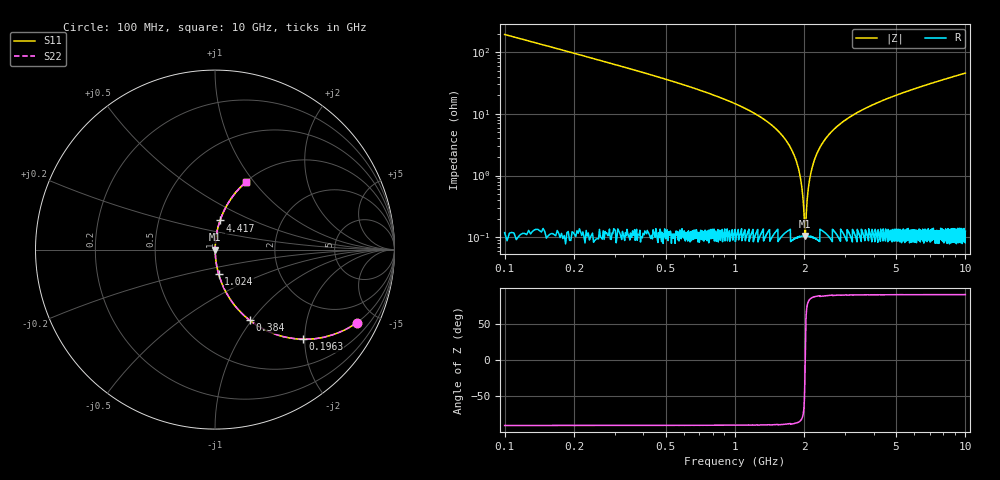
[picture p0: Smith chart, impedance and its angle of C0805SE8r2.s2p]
! AVX Thin Film Operation		Date: April 2012
! Description: Accu-P® Series, Thin Film, SMD, RF Capacitor
! Part Number: 08051J8R2BBTTR
!	100	MHz	-	10.05	GHz
!	Serial	Measurements
#	MHZ	S	MA	R	50
!	S11	S21	S12	S22
!	dB	Phase	dB	Phase	dB	Phase	dB	Phase
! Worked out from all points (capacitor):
!   4010 points, 100 MHz to 10 GHz, reference 50 ohm
!   read as one part in series: C = 8.2 pF near 149.4 MHz
!   lowest |Z| = 105 mohm at 2.016 GHz (marker M1)
!   series resonance near 2.016 GHz, so ESL is about 760 pH
!   S11 on the Smith chart (normalised r, x): 100 MHz: 1.00, -3.87; 196.3 MHz: 1.00, -1.96; 384 MHz: 1.00, -0.98; 1.024 GHz: 1.00, -0.28; 4.417 GHz: 1.00, +0.33; 10 GHz: 1.00, +0.92
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100  0.888 -27.3  0.459 62.7  0.459 62.7  0.888 -27.3
196.308  0.699 -45.6  0.714 44.4  0.714 44.4  0.699 -45.6
383.986  0.438 -63.9  0.898 25.9  0.898 25.9  0.438 -63.9
616.114  0.274 -73.9  0.961 15.9  0.961 15.9  0.274 -73.9
1023.572  0.139 -81.5  0.989 8.0  0.989 8.0  0.139 -81.5
1480.419  0.06 -85.5  0.997 3.5  0.997 3.5  0.06 -85.5
1752.058  0.027 -86.1  0.999 1.6  0.999 1.6  0.027 -86.1
1895.286  0.012 -84.0  0.999 0.7  0.999 0.7  0.012 -84.0
1937.266  0.00773 -81.4  0.999 0.4  0.999 0.4  0.00773 -81.4
1984.186  0.00324 -70.0  0.999 0.2  0.999 0.2  0.00324 -70.0
2016.288  0.0011 2.2  0.999 -0.0  0.999 -0.0  0.0011 2.2
2045.922  0.00305 68.7  0.999 -0.2  0.999 -0.2  0.00305 68.7
2095.311  0.00752 81.2  0.999 -0.4  0.999 -0.4  0.00752 81.2
2152.108  0.013 84.3  0.999 -0.7  0.999 -0.7  0.013 84.3
2362.01  0.031 86.2  0.998 -1.8  0.998 -1.8  0.031 86.2
2757.121  0.061 85.5  0.997 -3.5  0.997 -3.5  0.061 85.5
3401.646  0.105 83.4  0.993 -6.0  0.993 -6.0  0.105 83.4
4416.588  0.165 80.2  0.985 -9.5  0.985 -9.5  0.165 80.2
5051.235  0.199 78.2  0.979 -11.5  0.979 -11.5  0.199 78.2
6700.823  0.279 73.6  0.959 -16.2  0.959 -16.2  0.279 73.6
8350.412  0.351 69.3  0.935 -20.6  0.935 -20.6  0.351 69.3
10000  0.416 65.3  0.908 -24.6  0.908 -24.6  0.416 65.3
